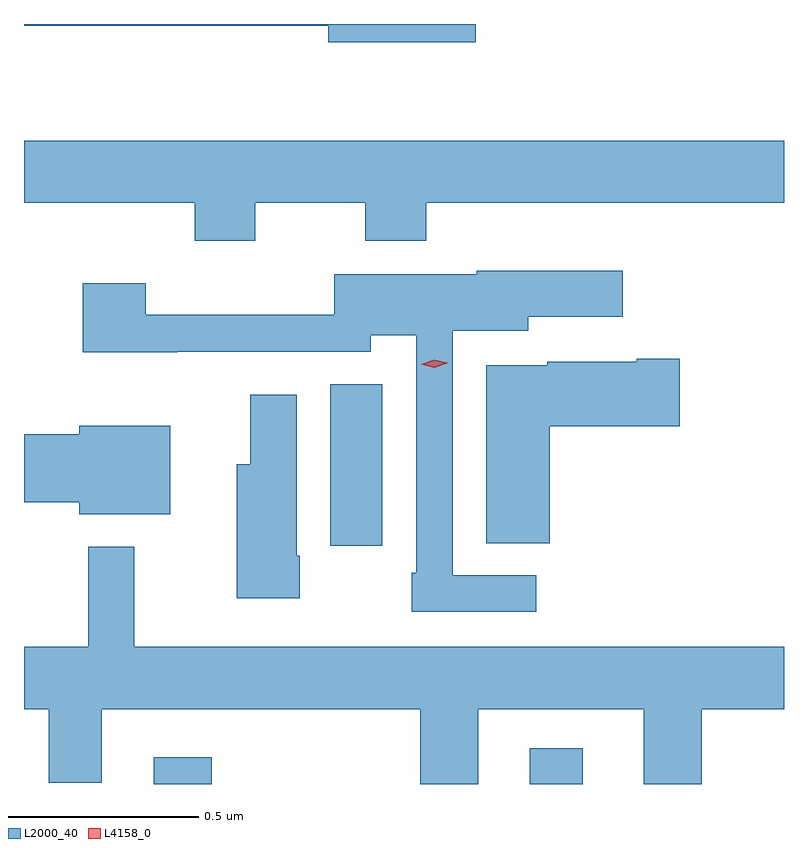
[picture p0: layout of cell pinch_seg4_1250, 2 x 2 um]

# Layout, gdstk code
import gdstk
lib = gdstk.Library(unit=1e-6, precision=1e-09)
def R(c, l, rs):  # rectangles x0, y0, x1, y1
    for r in rs: c.add(gdstk.rectangle(r[:2], r[2:], *l))
def P(c, l, *ps):  # polygons
    for p in ps: c.add(gdstk.Polygon(p, *l))
L2000_40 = (2000, 40)
L4158_0 = (4158, 0)

pinch_seg4_1250 = lib.new_cell('pinch_seg4_1250')
R(pinch_seg4_1250, L2000_40, [(347.813,815.271,347.966,815.341), (348.803,815.271,348.943,815.365), (348.278,815.898,348.415,816.323)])
P(pinch_seg4_1250, L2000_40, [(348.661,817.271),(347.472,817.271),(347.472,817.266),(348.272,817.266),(348.272,817.223),(348.661,817.223)],
  [(348.081,816.8),(348.37,816.8),(348.37,816.701),(348.53,816.701),(348.53,816.8),(349.472,816.8),(349.472,816.964),(347.472,816.964),(347.472,816.8),(347.921,816.8),(347.921,816.701),(348.081,816.701)],
  [(348.82,815.82),(348.6,815.82),(348.6,816.464),(348.799,816.464),(348.799,816.5),(349.048,816.5),(349.048,816.622),(348.663,816.622),(348.663,816.613),(348.288,816.613),(348.288,816.506),(347.792,816.506),(347.792,816.589),(347.627,816.589),(347.627,816.407),(347.875,816.407),(347.875,816.408),(348.384,816.408),(348.384,816.452),(348.504,816.452),(348.504,815.827),(348.492,815.827),(348.492,815.724),(348.82,815.724)],
  [(348.856,816.212),(349.198,816.212),(349.198,816.39),(349.085,816.39),(349.085,816.382),(348.849,816.382),(348.849,816.373),(348.689,816.373),(348.689,815.905),(348.856,815.905)],
  [(348.198,815.872),(348.19,815.872),(348.19,816.295),(348.068,816.295),(348.068,816.112),(348.032,816.112),(348.032,815.76),(348.198,815.76)],
  [(347.857,816.214),(347.618,816.214),(347.618,816.191),(347.472,816.191),(347.472,816.013),(347.618,816.013),(347.618,815.981),(347.857,815.981)],
  [(348.667,815.468),(349.103,815.468),(349.103,815.271),(349.256,815.271),(349.256,815.468),(349.472,815.468),(349.472,815.632),(347.762,815.632),(347.762,815.896),(347.641,815.896),(347.641,815.632),(347.472,815.632),(347.472,815.468),(347.537,815.468),(347.537,815.274),(347.677,815.274),(347.677,815.468),(348.515,815.468),(348.515,815.271),(348.667,815.271)])
P(pinch_seg4_1250, L4158_0, [(348.552,816.367),(348.518,816.376),(348.517,816.376),(348.518,816.376),(348.551,816.387),(348.586,816.379),(348.586,816.378),(348.586,816.378)])

lib.write_gds('pinch_seg4_1250.gds')
